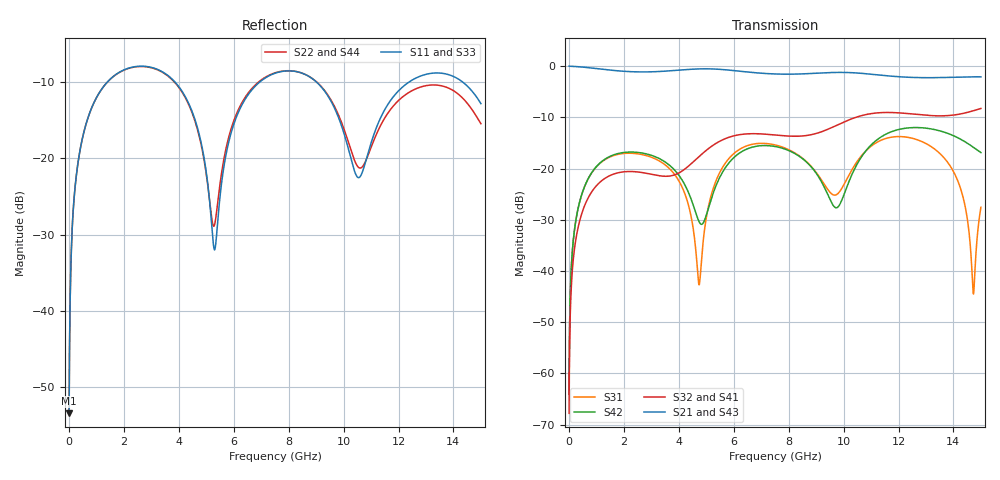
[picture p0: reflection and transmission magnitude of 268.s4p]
! Created with skrf 1.8.0 (http://scikit-rf.org).
# GHz S RI R 50.0
!freq ReS11 ImS11 ReS12 ImS12 ReS13 ImS13
! ReS14 ImS14
! ReS21 ImS21 ReS22 ImS22 ReS23 ImS23
! ReS24 ImS24
! ReS31 ImS31 ReS32 ImS32 ReS33 ImS33
! ReS34 ImS34
! ReS41 ImS41 ReS42 ImS42 ReS43 ImS43
! ReS44 ImS44
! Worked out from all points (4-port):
!   2499 points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, 5 MHz to 15 GHz, reference 50 ohm
!   strongest paths, dB at 5 MHz, 3.476 GHz, 7.19 GHz, 11.1 GHz, 15 GHz:
!     S21: 0.0, -1.0, -1.5, -1.6, -2.1
!     S43: 0.0, -1.0, -1.5, -1.6, -2.1
!     S32: -67.8, -21.5, -13.3, -9.2, -8.3
!     S41: -67.8, -21.6, -13.3, -9.2, -8.3
!     S42: -64.0, -18.6, -15.5, -14.9, -16.9
!     S31: -64.0, -19.2, -15.1, -15.3, -27.6
!   lowest |S11| = -53.4 dB at 5 MHz (marker M1), VSWR 1.00, Z = 50.2 + j0.131 ohm
!   |S11| at or under -10 dB: start of sweep to 1.407 GHz; 3.85 GHz to 6.96 GHz (3.11 GHz wide, 57.5 % of centre); 8.999 GHz to 12.4 GHz (3.401 GHz wide, 31.8 % of centre) (the widest 3 of 4)
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0.005  0.0017 0.0013  0.9983 -0.00331  8.38e-05 0.000625  -8.18e-05 -0.0004
       0.9983 -0.00331  0.0017 0.0013  -8.18e-05 -0.0004  8.4e-05 0.000625
       8.38e-05 0.000625  -8.18e-05 -0.0004  0.0017 0.0013  0.9983 -0.00331
       -8.18e-05 -0.0004  8.4e-05 0.000625  0.9983 -0.00331  0.0017 0.0013
0.3626511  0.0322 0.0971  0.9558 -0.2366  0.014 0.0421  -0.012 -0.0263
           0.9558 -0.2366  0.0321 0.0971  -0.012 -0.0263  0.0146 0.0419
           0.014 0.0421  -0.012 -0.0263  0.0322 0.0971  0.9558 -0.2366
           -0.012 -0.0263  0.0146 0.0419  0.9558 -0.2366  0.0321 0.0971
1.619545  0.2984 0.1694  0.4927 -0.7616  0.1231 0.0523  -0.0881 0.00207
          0.4927 -0.7616  0.2963 0.1711  -0.0882 0.00223  0.1287 0.0435
          0.1231 0.0523  -0.0882 0.00223  0.2982 0.1695  0.4927 -0.7616
          -0.0881 0.00207  0.1287 0.0435  0.4927 -0.7616  0.2963 0.171
4.739475  0.0662 -0.1276  -0.864 -0.367  0.00714 0.00161  -0.048 0.122
          -0.864 -0.367  0.0743 -0.1184  -0.0463 0.1227  -0.0264 -0.0147
          0.00714 0.00161  -0.0463 0.1227  0.0661 -0.1269  -0.8641 -0.367
          -0.048 0.122  -0.0264 -0.0147  -0.8641 -0.367  0.0738 -0.118
8.109629  0.3712 -0.0219  -0.0176 0.8341  0.1232 -0.0817  0.1994 -0.0498
          -0.0176 0.8341  0.3718 -0.0224  0.1995 -0.0545  0.1222 -0.0788
          0.1232 -0.0817  0.1995 -0.0545  0.3711 -0.0202  -0.0182 0.8338
          0.1994 -0.0498  0.1222 -0.0788  -0.0182 0.8338  0.3732 -0.0236
10.89829  0.0938 0.0552  0.8366 -0.0514  0.021 0.1552  -0.0359 -0.3377
          0.8366 -0.0514  0.0992 0.0353  -0.0443 -0.3369  0.0657 0.1444
          0.021 0.1552  -0.0443 -0.3369  0.0937 0.0511  0.837 -0.0492
          -0.0359 -0.3377  0.0657 0.1444  0.837 -0.0492  0.0989 0.034
15  0.1723 -0.1483  -0.5689 -0.5408  -0.00888 0.0409  -0.2698 0.2754
    -0.5689 -0.5408  0.1585 -0.0558  -0.2576 0.287  -0.1108 -0.0906
    -0.00888 0.0409  -0.2576 0.287  0.1713 -0.1414  -0.5692 -0.5427
    -0.2698 0.2754  -0.1108 -0.0906  -0.5692 -0.5427  0.1486 -0.0557
